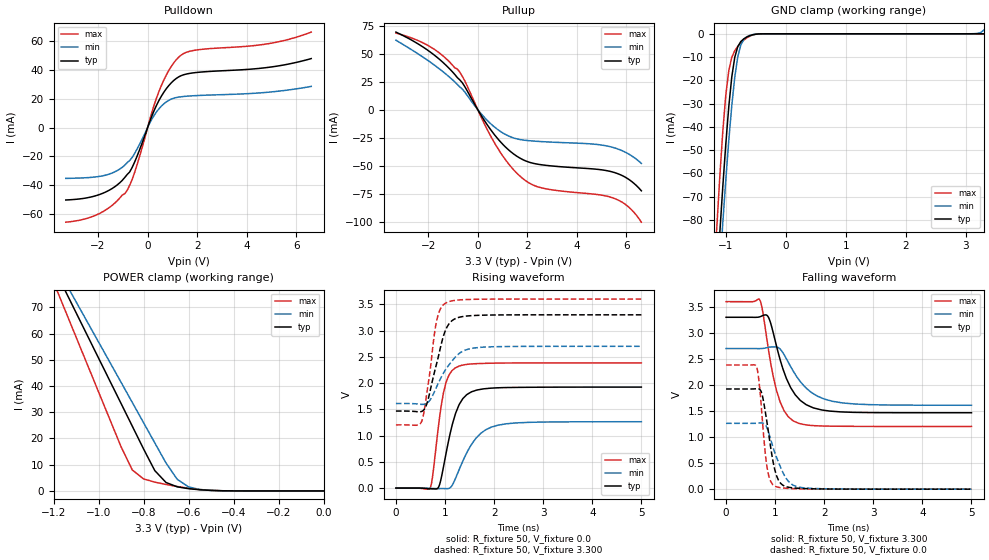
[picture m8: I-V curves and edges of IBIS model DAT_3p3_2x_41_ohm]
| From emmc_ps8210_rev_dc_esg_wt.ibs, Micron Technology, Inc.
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|   Model DAT_3p3_2x_41_ohm
[Model]   DAT_3p3_2x_41_ohm
Model_type   I/O
Vinl   = 1.10V
Vinh   = 1.85V
Vmeas  = 1.65V
|   typ   min   max
C_comp   5.070pF   4.620pF   5.590pF
[Voltage Range]   3.300V   2.700V   3.600V
| Junction Temperature (Ambient temp is 35C typ, 85C min, -25C max)
[Temperature Range]   50.0   100.0   -25.0
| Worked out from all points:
|   slope of the pulldown table from 0 to 0.495 V, typ, clamps not added: 24.8 ohm
|   slope of the pullup table from 0 to 0.495 V, typ, clamps not added: 28.9 ohm
|   GND clamp passes 1 mA (typ) near -0.62 V on its own axis
|   POWER clamp passes 1 mA (typ) near -0.61 V on its own axis
|   rising waveform, R_fixture 50, V_fixture 0.0: 20-80 % time 300ps typ, 450ps min, 213ps max; typ from 0 V to 1.92 V
|   falling waveform, R_fixture 50, V_fixture 3.300: 20-80 % time 415ps typ, 545ps min, 304ps max; typ from 3.3 V to 1.47 V
|   rising waveform, R_fixture 50, V_fixture 3.300: 20-80 % time 288ps typ, 417ps min, 206ps max; typ from 1.47 V to 3.3 V
|   falling waveform, R_fixture 50, V_fixture 0.0: 20-80 % time 200ps typ, 304ps min, 138ps max; typ from 1.92 V to 0 V
[Pulldown]
|   Voltage   I(typ)   I(min)   I(max)
-3.3V     -50.16mA   -35.19mA   -65.53mA
-1.914V   -46.2mA    -33.74mA   -59.26mA
-1.32V    -40.93mA   -30.61mA   -52.22mA
-825mV    -32.53mA   -24.24mA   -43.48mA
-528mV    -24.08mA   -18.04mA   -31.31mA
165mV     7.781mA    5.665mA    10.2mA
462mV     18.93mA    13.12mA    25.21mA
858mV     29.18mA    18.93mA    39.67mA
1.353V    35.97mA    21.36mA    50.23mA
2.046V    38.31mA    22.23mA    53.94mA
5.016V    42.07mA    24.76mA    58.56mA
6.6V      47.81mA    28.53mA    66.16mA
[GND_clamp]
|   Voltage   I(typ)   I(min)   I(max)
-3.3V     -1.215A    -1.186A    -1.264A
-1.15V    -106.9mA   -121.7mA   -83.42mA
-1.1V     -85.79mA   -101.1mA   -61.61mA
-1.05V    -65.86mA   -81.43mA   -42.03mA
-1V       -47.53mA   -62.91mA   -26.45mA
-950mV    -31.34mA   -45.93mA   -15.87mA
-900mV    -18.56mA   -30.95mA   -10.14mA
-850mV    -10.08mA   -18.57mA   -7.26mA
-800mV    -5.518mA   -9.883mA   -5.408mA
-750mV    -3.354mA   -4.867mA   -3.954mA
-650mV    -1.397mA   -1.296mA   -1.774mA
3.3V      153.5pA    1.541mA    28.72pA
[Pullup]
|   Voltage   I(typ)   I(min)   I(max)
-3.3V     69.23mA    61.98mA    68.31mA
-1.914V   51.39mA    42.38mA    56.08mA
-825mV    28.62mA    22.52mA    36.28mA
-528mV    20.71mA    15.89mA    25.88mA
165mV     -6.129mA   -4.418mA   -7.998mA
759mV     -24.76mA   -17.05mA   -32.82mA
1.353V    -38.04mA   -24.61mA   -51.41mA
1.848V    -45.04mA   -27.26mA   -62.12mA
2.64V     -49.51mA   -28.69mA   -70.29mA
5.511V    -56.23mA   -34.17mA   -79.38mA
6.105V    -62.54mA   -39.9mA    -87.41mA
6.6V      -72.57mA   -48.11mA   -100.6mA
[POWER_clamp]
|   Voltage   I(typ)   I(min)   I(max)
-3.3V     453.3mA    414.4mA    751.9mA
-1.2V     85.34mA    87.53mA    79.65mA
-1.15V    76.66mA    79.83mA    69.17mA
-1.1V     67.99mA    72.13mA    58.7mA
-900mV    33.36mA    41.43mA    16.88mA
-850mV    24.71mA    33.74mA    7.997mA
-800mV    16.03mA    26.04mA    4.596mA
-750mV    7.762mA    18.34mA    3.354mA
-700mV    3.218mA    10.64mA    2.457mA
-650mV    1.558mA    4.403mA    1.681mA
-600mV    854.9uA    1.541mA    1.032mA
0V        154pA      391.7pA    39.41pA
[Ramp]
|   typ   min   max
dV/dt_r   1.15/300.35p   758.25m/450.24p   1.43/212.94p
dV/dt_f   1.10/415.37p   653.73m/545.44p   1.44/304.25p
R_load = 50
[Rising Waveform]
R_fixture = 50
V_fixture = 0.0
|   Time   V(typ)   V(min)   V(max)
0s        25.49nV    29.76nV    534.6nV
700ps     -13.64mV   -5.926mV   8.139mV
750ps     -15.03mV   -7.768mV   244.1mV
860ps     3.93mV     -10.14mV   1.128V
970ps     409.4mV    -9.546mV   1.817V
1.08ns    933mV      -6.304mV   2.151V
1.21ns    1.406V     175.8mV    2.289V
1.45ns    1.784V     683.4mV    2.356V
1.94ns    1.903V     1.159V     2.378V
5ns       1.923V     1.263V     2.384V
[Falling Waveform]
R_fixture   = 50
V_fixture   = 3.300
V_fixture_min = 2.700
V_fixture_max = 3.600
|   Time   V(typ)   V(min)   V(max)
0s        3.3V       2.7V       3.6V
690ps     3.31V      2.699V     3.629V
740ps     3.33V      2.701V     3.448V
860ps     3.305V     2.722V     2.704V
1.03ns    2.74V      2.73V      1.889V
1.18ns    2.253V     2.586V     1.51V
1.37ns    1.87V      2.264V     1.31V
1.73ns    1.581V     1.862V     1.224V
2.17ns    1.495V     1.687V     1.209V
5ns       1.467V     1.611V     1.204V
[Rising Waveform]
R_fixture   = 50
V_fixture   = 3.300
V_fixture_min = 2.700
V_fixture_max = 3.600
|   Time   V(typ)   V(min)   V(max)
0s        1.466V     1.61V      1.204V
520ps     1.458V     1.594V     1.261V
570ps     1.49V      1.595V     1.44V
640ps     1.635V     1.621V     1.873V
830ps     2.373V     1.93V      3.188V
910ps     2.688V     2.087V     3.419V
1.02ns    3.026V     2.269V     3.527V
1.21ns    3.227V     2.495V     3.575V
1.61ns    3.288V     2.67V      3.596V
5ns       3.3V       2.7V       3.6V
[Falling Waveform]
R_fixture = 50
V_fixture = 0.0
|   Time   V(typ)   V(min)   V(max)
0s        1.923V     1.264V     2.384V
620ps     1.928V     1.265V     2.353V
670ps     1.922V     1.27V      2.082V
730ps     1.833V     1.271V     1.448V
840ps     1.246V     1.162V     391.2mV
990ps     384.3mV    708.7mV    61.28mV
1.07ns    169.7mV    513.7mV    35.01mV
1.23ns    46.62mV    200mV      17.06mV
1.5ns     15.96mV    36.9mV     6.367mV
5ns       67.92uV    69.39uV    61.12uV
